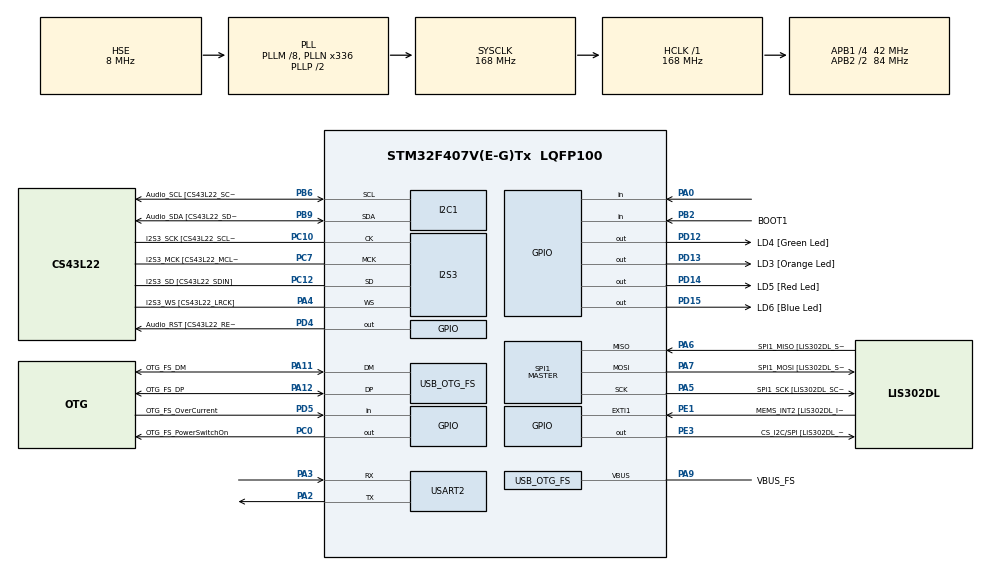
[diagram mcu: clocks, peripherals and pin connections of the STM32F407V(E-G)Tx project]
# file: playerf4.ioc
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FREERTOS.INCLUDE_vTaskDelayUntil=1
FREERTOS.Tasks01=defaultTask,0,1024,StartDefaultTask,Default,NULL,Dynamic,NULL,NULL
I2S3.AudioFreq-Half_Duplex_Master=I2S_AUDIOFREQ_96K
I2S3.ErrorAudioFreq=-2.34 %
I2S3.ErrorAudioFreq-Half_Duplex_Master=0.8 %
I2S3.FullDuplexMode=I2S_FULLDUPLEXMODE_DISABLE
I2S3.Instance=SPI$Index
I2S3.RealAudioFreq=93.75 KHz
I2S3.RealAudioFreq-Half_Duplex_Master=96.774 KHz
I2S3.VirtualMode=I2S_MODE_MASTER
Mcu.Family=STM32F4
Mcu.Name=STM32F407V(E-G)Tx
Mcu.Package=LQFP100
NVIC.OTG_FS_IRQn=true\:5\:0\:false\:false\:true\:true\:true
NVIC.PriorityGroup=NVIC_PRIORITYGROUP_4
NVIC.TIM7_IRQn=true\:0\:0\:false\:false\:true\:false\:false
NVIC.TimeBase=TIM7_IRQn
NVIC.TimeBaseIP=TIM7
PA0-WKUP.Signal=GPIO_Input
PA10.GPIO_Label=OTG_FS_ID
PA10.GPIO_Mode=GPIO_MODE_AF_PP
PA10.GPIO_PuPd=GPIO_NOPULL
PA10.GPIO_Speed=GPIO_SPEED_FREQ_LOW
PA10.Signal=USB_OTG_FS_ID
PA11.GPIO_Label=OTG_FS_DM
PA11.GPIO_Mode=GPIO_MODE_AF_PP
PA11.GPIO_PuPd=GPIO_NOPULL
PA11.GPIO_Speed=GPIO_SPEED_FREQ_LOW
PA11.Mode=Host_Only
PA11.Signal=USB_OTG_FS_DM
PA12.GPIO_Label=OTG_FS_DP
PA12.GPIO_Mode=GPIO_MODE_AF_PP
PA12.GPIO_PuPd=GPIO_NOPULL
PA12.GPIO_Speed=GPIO_SPEED_FREQ_LOW
PA12.Mode=Host_Only
PA12.Signal=USB_OTG_FS_DP
PA13.GPIO_Label=SWDIO
PA13.Mode=Serial_Wire
PA13.Signal=SYS_JTMS-SWDIO
PA14.GPIO_Label=SWCLK
PA14.Mode=Serial_Wire
PA14.Signal=SYS_JTCK-SWCLK
PA2.Mode=Asynchronous
PA2.Signal=USART2_TX
PA3.Mode=Asynchronous
PA3.Signal=USART2_RX
PA4.GPIO_Label=I2S3_WS [CS43L22_LRCK]
PA4.GPIO_Mode=GPIO_MODE_AF_PP
PA4.GPIO_PuPd=GPIO_NOPULL
PA4.GPIO_Speed=GPIO_SPEED_FREQ_LOW
PA4.Mode=Half_Duplex_Master
PA4.Signal=I2S3_WS
PA5.GPIO_Label=SPI1_SCK [LIS302DL_SCL/SPC]
PA5.GPIO_Mode=GPIO_MODE_AF_PP
PA5.GPIO_PuPd=GPIO_NOPULL
PA5.GPIO_Speed=GPIO_SPEED_FREQ_LOW
PA5.Mode=Full_Duplex_Master
PA5.Signal=SPI1_SCK
PA6.GPIO_Label=SPI1_MISO [LIS302DL_SDO]
PA6.GPIO_Mode=GPIO_MODE_AF_PP
PA6.GPIO_PuPd=GPIO_NOPULL
PA6.GPIO_Speed=GPIO_SPEED_FREQ_LOW
PA6.Mode=Full_Duplex_Master
PA6.Signal=SPI1_MISO
PA7.GPIO_Label=SPI1_MOSI [LIS302DL_SDA/SDI/SDO]
PA7.GPIO_Mode=GPIO_MODE_AF_PP
PA7.GPIO_PuPd=GPIO_NOPULL
PA7.GPIO_Speed=GPIO_SPEED_FREQ_LOW
PA7.Mode=Full_Duplex_Master
PA7.Signal=SPI1_MOSI
PA9.GPIO_Label=VBUS_FS
PA9.GPIO_Mode=GPIO_MODE_INPUT
PA9.GPIO_PuPd=GPIO_NOPULL
PA9.Mode=Activate_VBUS
PA9.Signal=USB_OTG_FS_VBUS
PB10.GPIO_Label=CLK_IN [MP45DT02_CLK]
PB10.GPIO_Mode=GPIO_MODE_AF_PP
PB10.GPIO_PuPd=GPIO_NOPULL
PB10.GPIO_Speed=GPIO_SPEED_FREQ_LOW
PB10.Signal=I2S2_CK
PB2.GPIO_Label=BOOT1
PB2.GPIO_Mode=GPIO_MODE_INPUT
PB2.GPIO_PuPd=GPIO_NOPULL
PB2.Signal=GPIO_Input
PB3.GPIO_Label=SWO
PB3.Signal=SYS_JTDO-SWO
PB6.GPIO_Label=Audio_SCL [CS43L22_SCL]
PB6.GPIO_Mode=GPIO_MODE_AF_OD
PB6.GPIO_PuPd=GPIO_NOPULL
PB6.GPIO_Speed=GPIO_SPEED_FREQ_LOW
PB6.Mode=I2C
PB6.Signal=I2C1_SCL
PB9.GPIO_Label=Audio_SDA [CS43L22_SDA]
PB9.GPIO_Mode=GPIO_MODE_AF_OD
PB9.GPIO_PuPd=GPIO_NOPULL
PB9.GPIO_Speed=GPIO_SPEED_FREQ_LOW
PB9.Mode=I2C
PB9.Signal=I2C1_SDA
PC0.GPIO_Label=OTG_FS_PowerSwitchOn
PC0.GPIO_PuPd=GPIO_NOPULL
PC0.GPIO_Speed=GPIO_SPEED_FREQ_LOW
PC0.PinState=GPIO_PIN_SET
PC0.Signal=GPIO_Output
PC10.GPIO_Label=I2S3_SCK [CS43L22_SCLK]
PC10.GPIO_Mode=GPIO_MODE_AF_PP
PC10.GPIO_PuPd=GPIO_NOPULL
PC10.GPIO_Speed=GPIO_SPEED_FREQ_LOW
PC10.Mode=Half_Duplex_Master
PC10.Signal=I2S3_CK
PC12.GPIO_Label=I2S3_SD [CS43L22_SDIN]
PC12.GPIO_Mode=GPIO_MODE_AF_PP
PC12.GPIO_PuPd=GPIO_NOPULL
PC12.GPIO_Speed=GPIO_SPEED_FREQ_LOW
PC12.Mode=Half_Duplex_Master
PC12.Signal=I2S3_SD
PC14-OSC32_IN.GPIO_Label=PC14-OSC32_IN
PC14-OSC32_IN.Mode=LSE-External-Oscillator
PC14-OSC32_IN.Signal=RCC_OSC32_IN
PC15-OSC32_OUT.GPIO_Label=PC15-OSC32_OUT
PC15-OSC32_OUT.Mode=LSE-External-Oscillator
PC15-OSC32_OUT.Signal=RCC_OSC32_OUT
PC3.GPIO_Label=PDM_OUT [MP45DT02_DOUT]
PC3.GPIO_Mode=GPIO_MODE_AF_PP
PC3.GPIO_PuPd=GPIO_NOPULL
PC3.GPIO_Speed=GPIO_SPEED_FREQ_LOW
PC3.Signal=I2S2_SD
PC7.GPIO_Label=I2S3_MCK [CS43L22_MCLK]
PC7.GPIO_Mode=GPIO_MODE_AF_PP
PC7.GPIO_PuPd=GPIO_NOPULL
PC7.GPIO_Speed=GPIO_SPEED_FREQ_LOW
PC7.Mode=Master_Clock_Activated
PC7.Signal=I2S3_MCK
PD12.GPIO_Label=LD4 [Green Led]
PD12.GPIO_PuPd=GPIO_NOPULL
PD12.GPIO_Speed=GPIO_SPEED_FREQ_LOW
PD12.Signal=GPIO_Output
PD13.GPIO_Label=LD3 [Orange Led]
PD13.GPIO_PuPd=GPIO_NOPULL
PD13.GPIO_Speed=GPIO_SPEED_FREQ_LOW
PD13.Signal=GPIO_Output
PD14.GPIO_Label=LD5 [Red Led]
PD14.GPIO_PuPd=GPIO_NOPULL
PD14.GPIO_Speed=GPIO_SPEED_FREQ_LOW
PD14.Signal=GPIO_Output
PD15.GPIO_Label=LD6 [Blue Led]
PD15.GPIO_PuPd=GPIO_NOPULL
PD15.GPIO_Speed=GPIO_SPEED_FREQ_LOW
PD15.Signal=GPIO_Output
PD4.GPIO_Label=Audio_RST [CS43L22_RESET]
PD4.GPIO_PuPd=GPIO_NOPULL
PD4.GPIO_Speed=GPIO_SPEED_FREQ_LOW
PD4.Signal=GPIO_Output
PD5.GPIO_Label=OTG_FS_OverCurrent
PD5.GPIO_Mode=GPIO_MODE_INPUT
PD5.GPIO_PuPd=GPIO_NOPULL
PD5.Signal=GPIO_Input
PE1.GPIO_Label=MEMS_INT2 [LIS302DL_INT2]
PE1.GPIO_ModeDefaultEXTI=GPIO_MODE_EVT_RISING
PE1.GPIO_PuPd=GPIO_NOPULL
PE1.Signal=GPXTI1
PE3.GPIO_Label=CS_I2C/SPI [LIS302DL_CS_I2C/SPI]
PE3.GPIO_PuPd=GPIO_NOPULL
PE3.GPIO_Speed=GPIO_SPEED_FREQ_LOW
PE3.Signal=GPIO_Output
PH0-OSC_IN.GPIO_Label=PH0-OSC_IN
PH0-OSC_IN.Mode=HSE-External-Oscillator
PH0-OSC_IN.Signal=RCC_OSC_IN
PH1-OSC_OUT.GPIO_Label=PH1-OSC_OUT
PH1-OSC_OUT.Mode=HSE-External-Oscillator
PH1-OSC_OUT.Signal=RCC_OSC_OUT
ProjectManager.HeapSize=0x200
ProjectManager.StackSize=0x400
ProjectManager.TargetToolchain=Makefile
RCC.48MHZClocksFreq_Value=48000000
RCC.AHBFreq_Value=168000000
RCC.APB1CLKDivider=RCC_HCLK_DIV4
RCC.APB1Freq_Value=42000000
RCC.APB1TimFreq_Value=84000000
RCC.APB2CLKDivider=RCC_HCLK_DIV2
RCC.APB2Freq_Value=84000000
RCC.APB2TimFreq_Value=168000000
RCC.CortexFreq_Value=168000000
RCC.HCLKFreq_Value=168000000
RCC.HSE_VALUE=8000000
RCC.HSI_VALUE=16000000
RCC.PLLM=8
RCC.PLLN=336
RCC.PLLQ=7
RCC.SYSCLKFreq_VALUE=168000000
RCC.SYSCLKSource=RCC_SYSCLKSOURCE_PLLCLK
RCC.VCOOutputFreq_Value=336000000
SPI1.BaudRatePrescaler-Full_Duplex_Master=SPI_BAUDRATEPRESCALER_2
SPI1.CalculateBaudRate-Full_Duplex_Master=42.0 MBits/s
SPI1.Direction=SPI_DIRECTION_2LINES
SPI1.Mode=SPI_MODE_MASTER
SPI1.Mode-Full_Duplex_Master=SPI_MODE_MASTER
SPI1.VirtualType=VM_MASTER
USART2.VirtualMode=VM_ASYNC
USB_HOST.BSP.number=1
USB_HOST.USBH_DEBUG_LEVEL-MSC_FS=3
USB_HOST.USBH_HandleTypeDef-MSC_FS=hUsbHostFS
USB_HOST.VirtualModeFS=Msc
USB_HOST0.BSP.STBoard=true
USB_HOST0.BSP.api=Unknown
USB_HOST0.BSP.i2caddr=0
USB_HOST0.BSP.instance=PC0
USB_HOST0.BSP.ip=GPIO
USB_HOST0.BSP.mode=Output
USB_HOST0.BSP.name=Drive_VBUS_FS
USB_HOST0.BSP.solution=PC0
USB_OTG_FS.VirtualMode=Host_Only
USB_OTG_FS.phy_itface=HCD_PHY_EMBEDDED
VP_FATFS_VS_USB.Mode=USB
VP_FREERTOS_VS_ENABLE.Mode=Enabled
VP_RNG_VS_RNG.Mode=RNG_Activate
VP_SYS_VS_tim7.Mode=TIM7
VP_TIM6_VS_ClockSourceINT.Mode=Enable_Timer
VP_USB_HOST_VS_USB_HOST_MSC_FS.Mode=MSC_FS
board=STM32F4DISCOVERY

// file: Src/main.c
/**
  ******************************************************************************
  * @file           : main.c
  * @brief          : Main program body
  ******************************************************************************
  * This notice applies to any and all portions of this file
  * that are not between comment pairs USER CODE BEGIN and
  * USER CODE END. Other portions of this file, whether
  * inserted by the user or by software development tools
  * are owned by their respective copyright owners.
  *
  * Copyright (c) 2018 STMicroelectronics International N.V.
  * All rights reserved.
  *
  * Redistribution and use in source and binary forms, with or without
  * modification, are permitted, provided that the following conditions are met:
  *
  * 1. Redistribution of source code must retain the above copyright notice,
  *    this list of conditions and the following disclaimer.
  * 2. Redistributions in binary form must reproduce the above copyright notice,
  *    this list of conditions and the following disclaimer in the documentation
  *    and/or other materials provided with the distribution.
  * 3. Neither the name of STMicroelectronics nor the names of other
  *    contributors to this software may be used to endorse or promote products
  *    derived from this software without specific written permission.
  * 4. This software, including modifications and/or derivative works of this
  *    software, must execute solely and exclusively on microcontroller or
  *    microprocessor devices manufactured by or for STMicroelectronics.
  * 5. Redistribution and use of this software other than as permitted under
  *    this license is void and will automatically terminate your rights under
  *    this license.
  *
  * THIS SOFTWARE IS PROVIDED BY STMICROELECTRONICS AND CONTRIBUTORS "AS IS"
  * AND ANY EXPRESS, IMPLIED OR STATUTORY WARRANTIES, INCLUDING, BUT NOT
  * LIMITED TO, THE IMPLIED WARRANTIES OF MERCHANTABILITY, FITNESS FOR A
  * PARTICULAR PURPOSE AND NON-INFRINGEMENT OF THIRD PARTY INTELLECTUAL PROPERTY
  * RIGHTS ARE DISCLAIMED TO THE FULLEST EXTENT PERMITTED BY LAW. IN NO EVENT
  * SHALL STMICROELECTRONICS OR CONTRIBUTORS BE LIABLE FOR ANY DIRECT, INDIRECT,
  * INCIDENTAL, SPECIAL, EXEMPLARY, OR CONSEQUENTIAL DAMAGES (INCLUDING, BUT NOT
  * LIMITED TO, PROCUREMENT OF SUBSTITUTE GOODS OR SERVICES; LOSS OF USE, DATA,
  * OR PROFITS; OR BUSINESS INTERRUPTION) HOWEVER CAUSED AND ON ANY THEORY OF
  * LIABILITY, WHETHER IN CONTRACT, STRICT LIABILITY, OR TORT (INCLUDING
  * NEGLIGENCE OR OTHERWISE) ARISING IN ANY WAY OUT OF THE USE OF THIS SOFTWARE,
  * EVEN IF ADVISED OF THE POSSIBILITY OF SUCH DAMAGE.
  *
  ******************************************************************************
  */
#include "main.h"
#include "stm32f4xx_hal.h"
#include "cmsis_os.h"
#include "fatfs.h"
#include "usb_host.h"

/* USER CODE BEGIN Includes */

#include "stm32f4_discovery_audio.h"
#include "ansi.h"
#include "term_io.h"
#include "dbgu.h"
#include "mp3dec.h"
#include "ctype.h"
#include "genres.h"

/* USER CODE END Includes */

I2C_HandleTypeDef hi2c1;

I2S_HandleTypeDef hi2s3;

RNG_HandleTypeDef hrng;

SPI_HandleTypeDef hspi1;

TIM_HandleTypeDef htim6;

UART_HandleTypeDef huart2;

osThreadId defaultTaskHandle;

/* USER CODE BEGIN PV */
/* Private variables ---------------------------------------------------------*/
/* USER CODE END PV */

void SystemClock_Config(void);

static void MX_GPIO_Init(void);

static void MX_I2C1_Init(void);

static void MX_I2S3_Init(void);

static void MX_SPI1_Init(void);

static void MX_RNG_Init(void);

static void MX_TIM6_Init(void);

static void MX_USART2_UART_Init(void);

void StartDefaultTask(void const *argument);

/* USER CODE BEGIN PFP */
/* Private function prototypes -----------------------------------------------*/

/* USER CODE END PFP */

int main(void) {

    /* MCU Configuration----------------------------------------------------------*/

    /* Reset of all peripherals, Initializes the Flash interface and the Systick. */
    HAL_Init();

    /* Configure the system clock */
    SystemClock_Config();

    /* Initialize all configured peripherals */
    MX_GPIO_Init();
    MX_I2C1_Init();
    MX_I2S3_Init();
    MX_SPI1_Init();
    MX_RNG_Init();
    MX_TIM6_Init();
    MX_USART2_UART_Init();
    /* USER CODE BEGIN 2 */
    debug_init(&huart2);
    xprintf("F4 player test!\n");
    xprintf("printf test!\n");
    /* USER CODE END 2 */

    /* Create the thread(s) */
    /* definition and creation of defaultTask */
    osThreadDef(defaultTask, StartDefaultTask, osPriorityNormal, 0, 1024);
    defaultTaskHandle = osThreadCreate(osThread(defaultTask), NULL);

    /* Start scheduler */
    osKernelStart();

    /* We should never get here as control is now taken by the scheduler */

    /* Infinite loop */
    while (1) {

    }

}

void SystemClock_Config(void) {

    RCC_OscInitTypeDef RCC_OscInitStruct;
    RCC_ClkInitTypeDef RCC_ClkInitStruct;
    RCC_PeriphCLKInitTypeDef PeriphClkInitStruct;

    /**Configure the main internal regulator output voltage
    */
    __HAL_RCC_PWR_CLK_ENABLE();

    __HAL_PWR_VOLTAGESCALING_CONFIG(PWR_REGULATOR_VOLTAGE_SCALE1);

    /**Initializes the CPU, AHB and APB busses clocks
    */
    RCC_OscInitStruct.OscillatorType = RCC_OSCILLATORTYPE_HSE;
    RCC_OscInitStruct.HSEState = RCC_HSE_ON;
    RCC_OscInitStruct.PLL.PLLState = RCC_PLL_ON;
    RCC_OscInitStruct.PLL.PLLSource = RCC_PLLSOURCE_HSE;
    RCC_OscInitStruct.PLL.PLLM = 8;
    RCC_OscInitStruct.PLL.PLLN = 336;
    RCC_OscInitStruct.PLL.PLLP = RCC_PLLP_DIV2;
    RCC_OscInitStruct.PLL.PLLQ = 7;
    if (HAL_RCC_OscConfig(&RCC_OscInitStruct) != HAL_OK) {
        _Error_Handler(__FILE__, __LINE__);
    }

    /**Initializes the CPU, AHB and APB busses clocks
    */
    RCC_ClkInitStruct.ClockType = RCC_CLOCKTYPE_HCLK | RCC_CLOCKTYPE_SYSCLK
                                  | RCC_CLOCKTYPE_PCLK1 | RCC_CLOCKTYPE_PCLK2;
    RCC_ClkInitStruct.SYSCLKSource = RCC_SYSCLKSOURCE_PLLCLK;
    RCC_ClkInitStruct.AHBCLKDivider = RCC_SYSCLK_DIV1;
    RCC_ClkInitStruct.APB1CLKDivider = RCC_HCLK_DIV4;
    RCC_ClkInitStruct.APB2CLKDivider = RCC_HCLK_DIV2;

    if (HAL_RCC_ClockConfig(&RCC_ClkInitStruct, FLASH_LATENCY_5) != HAL_OK) {
        _Error_Handler(__FILE__, __LINE__);
    }

    PeriphClkInitStruct.PeriphClockSelection = RCC_PERIPHCLK_I2S;
    PeriphClkInitStruct.PLLI2S.PLLI2SN = 192;
    PeriphClkInitStruct.PLLI2S.PLLI2SR = 2;
    if (HAL_RCCEx_PeriphCLKConfig(&PeriphClkInitStruct) != HAL_OK) {
        _Error_Handler(__FILE__, __LINE__);
    }

    /**Configure the Systick interrupt time
    */
    HAL_SYSTICK_Config(HAL_RCC_GetHCLKFreq() / 1000);

    /**Configure the Systick
    */
    HAL_SYSTICK_CLKSourceConfig(SYSTICK_CLKSOURCE_HCLK);

    /* SysTick_IRQn interrupt configuration */
    HAL_NVIC_SetPriority(SysTick_IRQn, 15, 0);
}

/* I2C1 init function */
static void MX_I2C1_Init(void) {

    hi2c1.Instance = I2C1;
    hi2c1.Init.ClockSpeed = 100000;
    hi2c1.Init.DutyCycle = I2C_DUTYCYCLE_2;
    hi2c1.Init.OwnAddress1 = 0;
    hi2c1.Init.AddressingMode = I2C_ADDRESSINGMODE_7BIT;
    hi2c1.Init.DualAddressMode = I2C_DUALADDRESS_DISABLE;
    hi2c1.Init.OwnAddress2 = 0;
    hi2c1.Init.GeneralCallMode = I2C_GENERALCALL_DISABLE;
    hi2c1.Init.NoStretchMode = I2C_NOSTRETCH_DISABLE;
    if (HAL_I2C_Init(&hi2c1) != HAL_OK) {
        _Error_Handler(__FILE__, __LINE__);
    }

}

/* I2S3 init function */
static void MX_I2S3_Init(void) {

    hi2s3.Instance = SPI3;
    hi2s3.Init.Mode = I2S_MODE_MASTER_TX;
    hi2s3.Init.Standard = I2S_STANDARD_PHILIPS;
    hi2s3.Init.DataFormat = I2S_DATAFORMAT_16B;
    hi2s3.Init.MCLKOutput = I2S_MCLKOUTPUT_ENABLE;
    hi2s3.Init.AudioFreq = I2S_AUDIOFREQ_96K;
    hi2s3.Init.CPOL = I2S_CPOL_LOW;
    hi2s3.Init.ClockSource = I2S_CLOCK_PLL;
    hi2s3.Init.FullDuplexMode = I2S_FULLDUPLEXMODE_DISABLE;
    if (HAL_I2S_Init(&hi2s3) != HAL_OK) {
        _Error_Handler(__FILE__, __LINE__);
    }

}

/* RNG init function */
static void MX_RNG_Init(void) {

    hrng.Instance = RNG;
    if (HAL_RNG_Init(&hrng) != HAL_OK) {
        _Error_Handler(__FILE__, __LINE__);
    }

}

/* SPI1 init function */
static void MX_SPI1_Init(void) {

    /* SPI1 parameter configuration*/
    hspi1.Instance = SPI1;
    hspi1.Init.Mode = SPI_MODE_MASTER;
    hspi1.Init.Direction = SPI_DIRECTION_2LINES;
    hspi1.Init.DataSize = SPI_DATASIZE_8BIT;
    hspi1.Init.CLKPolarity = SPI_POLARITY_LOW;
    hspi1.Init.CLKPhase = SPI_PHASE_1EDGE;
    hspi1.Init.NSS = SPI_NSS_SOFT;
    hspi1.Init.BaudRatePrescaler = SPI_BAUDRATEPRESCALER_2;
    hspi1.Init.FirstBit = SPI_FIRSTBIT_MSB;
    hspi1.Init.TIMode = SPI_TIMODE_DISABLE;
    hspi1.Init.CRCCalculation = SPI_CRCCALCULATION_DISABLE;
    hspi1.Init.CRCPolynomial = 10;
    if (HAL_SPI_Init(&hspi1) != HAL_OK) {
        _Error_Handler(__FILE__, __LINE__);
    }

}

/* TIM6 init function */
static void MX_TIM6_Init(void) {

    TIM_MasterConfigTypeDef sMasterConfig;

    htim6.Instance = TIM6;
    htim6.Init.Prescaler = 0;
    htim6.Init.CounterMode = TIM_COUNTERMODE_UP;
    htim6.Init.Period = 0;
    if (HAL_TIM_Base_Init(&htim6) != HAL_OK) {
        _Error_Handler(__FILE__, __LINE__);
    }

    sMasterConfig.MasterOutputTrigger = TIM_TRGO_RESET;
    sMasterConfig.MasterSlaveMode = TIM_MASTERSLAVEMODE_DISABLE;
    if (HAL_TIMEx_MasterConfigSynchronization(&htim6, &sMasterConfig) != HAL_OK) {
        _Error_Handler(__FILE__, __LINE__);
    }

}

/* USART2 init function */
static void MX_USART2_UART_Init(void) {

    huart2.Instance = USART2;
    huart2.Init.BaudRate = 115200;
    huart2.Init.WordLength = UART_WORDLENGTH_8B;
    huart2.Init.StopBits = UART_STOPBITS_1;
    huart2.Init.Parity = UART_PARITY_NONE;
    huart2.Init.Mode = UART_MODE_TX_RX;
    huart2.Init.HwFlowCtl = UART_HWCONTROL_NONE;
    huart2.Init.OverSampling = UART_OVERSAMPLING_16;
    if (HAL_UART_Init(&huart2) != HAL_OK) {
        _Error_Handler(__FILE__, __LINE__);
    }

}

/** Configure pins as
        * Analog
        * Input
        * Output
        * EVENT_OUT
        * EXTI
     PC3   ------> I2S2_SD
     PB10   ------> I2S2_CK
*/
static void MX_GPIO_Init(void) {

    GPIO_InitTypeDef GPIO_InitStruct;

    /* GPIO Ports Clock Enable */
    __HAL_RCC_GPIOE_CLK_ENABLE();
    __HAL_RCC_GPIOC_CLK_ENABLE();
    __HAL_RCC_GPIOH_CLK_ENABLE();
    __HAL_RCC_GPIOA_CLK_ENABLE();
    __HAL_RCC_GPIOB_CLK_ENABLE();
    __HAL_RCC_GPIOD_CLK_ENABLE();

    /*Configure GPIO pin Output Level */
    HAL_GPIO_WritePin(CS_I2C_SPI_GPIO_Port, CS_I2C_SPI_Pin, GPIO_PIN_RESET);

    /*Configure GPIO pin Output Level */
    HAL_GPIO_WritePin(OTG_FS_PowerSwitchOn_GPIO_Port, OTG_FS_PowerSwitchOn_Pin, GPIO_PIN_SET);

    /*Configure GPIO pin Output Level */
    HAL_GPIO_WritePin(GPIOD, LD4_Pin | LD3_Pin | LD5_Pin | LD6_Pin
                             | Audio_RST_Pin, GPIO_PIN_RESET);

    /*Configure GPIO pin : CS_I2C_SPI_Pin */
    GPIO_InitStruct.Pin = CS_I2C_SPI_Pin;
    GPIO_InitStruct.Mode = GPIO_MODE_OUTPUT_PP;
    GPIO_InitStruct.Pull = GPIO_NOPULL;
    GPIO_InitStruct.Speed = GPIO_SPEED_FREQ_LOW;
    HAL_GPIO_Init(CS_I2C_SPI_GPIO_Port, &GPIO_InitStruct);

    /*Configure GPIO pin : OTG_FS_PowerSwitchOn_Pin */
    GPIO_InitStruct.Pin = OTG_FS_PowerSwitchOn_Pin;
    GPIO_InitStruct.Mode = GPIO_MODE_OUTPUT_PP;
    GPIO_InitStruct.Pull = GPIO_NOPULL;
    GPIO_InitStruct.Speed = GPIO_SPEED_FREQ_LOW;
    HAL_GPIO_Init(OTG_FS_PowerSwitchOn_GPIO_Port, &GPIO_InitStruct);

    /*Configure GPIO pin : PDM_OUT_Pin */
    GPIO_InitStruct.Pin = PDM_OUT_Pin;
    GPIO_InitStruct.Mode = GPIO_MODE_AF_PP;
    GPIO_InitStruct.Pull = GPIO_NOPULL;
    GPIO_InitStruct.Speed = GPIO_SPEED_FREQ_LOW;
    GPIO_InitStruct.Alternate = GPIO_AF5_SPI2;
    HAL_GPIO_Init(PDM_OUT_GPIO_Port, &GPIO_InitStruct);

    /*Configure GPIO pin : PA0 */
    GPIO_InitStruct.Pin = GPIO_PIN_0;
    GPIO_InitStruct.Mode = GPIO_MODE_INPUT;
    GPIO_InitStruct.Pull = GPIO_NOPULL;
    HAL_GPIO_Init(GPIOA, &GPIO_InitStruct);

    /*Configure GPIO pin : BOOT1_Pin */
    GPIO_InitStruct.Pin = BOOT1_Pin;
    GPIO_InitStruct.Mode = GPIO_MODE_INPUT;
    GPIO_InitStruct.Pull = GPIO_NOPULL;
    HAL_GPIO_Init(BOOT1_GPIO_Port, &GPIO_InitStruct);

    /*Configure GPIO pin : CLK_IN_Pin */
    GPIO_InitStruct.Pin = CLK_IN_Pin;
    GPIO_InitStruct.Mode = GPIO_MODE_AF_PP;
    GPIO_InitStruct.Pull = GPIO_NOPULL;
    GPIO_InitStruct.Speed = GPIO_SPEED_FREQ_LOW;
    GPIO_InitStruct.Alternate = GPIO_AF5_SPI2;
    HAL_GPIO_Init(CLK_IN_GPIO_Port, &GPIO_InitStruct);

    /*Configure GPIO pins : LD4_Pin LD3_Pin LD5_Pin LD6_Pin
                             Audio_RST_Pin */
    GPIO_InitStruct.Pin = LD4_Pin | LD3_Pin | LD5_Pin | LD6_Pin
                          | Audio_RST_Pin;
    GPIO_InitStruct.Mode = GPIO_MODE_OUTPUT_PP;
    GPIO_InitStruct.Pull = GPIO_NOPULL;
    GPIO_InitStruct.Speed = GPIO_SPEED_FREQ_LOW;
    HAL_GPIO_Init(GPIOD, &GPIO_InitStruct);

    /*Configure GPIO pin : OTG_FS_OverCurrent_Pin */
    GPIO_InitStruct.Pin = OTG_FS_OverCurrent_Pin;
    GPIO_InitStruct.Mode = GPIO_MODE_INPUT;
    GPIO_InitStruct.Pull = GPIO_NOPULL;
    HAL_GPIO_Init(OTG_FS_OverCurrent_GPIO_Port, &GPIO_InitStruct);

    /*Configure GPIO pin : MEMS_INT2_Pin */
    GPIO_InitStruct.Pin = MEMS_INT2_Pin;
    GPIO_InitStruct.Mode = GPIO_MODE_EVT_RISING;
    GPIO_InitStruct.Pull = GPIO_NOPULL;
    HAL_GPIO_Init(MEMS_INT2_GPIO_Port, &GPIO_InitStruct);

}

/* USER CODE BEGIN 4 */

extern ApplicationTypeDef Appli_state;
extern USBH_HandleTypeDef hUsbHostHS;
#define AUDIO_OUT_BUFFER_SIZE 8192
#define MAX_SONG_NAME_SIZE 100
#define MAX_NUMBER_SONGS 50
#define FW_PATH "0:/"
enum {
    BUFFER_OFFSET_NONE = 0,
    BUFFER_OFFSET_HALF,
    BUFFER_OFFSET_FULL,
};
static uint8_t buf_offs = BUFFER_OFFSET_NONE;
static uint32_t fpos = 0;
typedef enum {
    FINISHED = 0,
    PLAYING,
    PAUSED,
    NEXT,
    PREVIOUS
} PLAYER_STATE;
static PLAYER_STATE player_state1 = FINISHED;
int volume = 70;
FIL file;
FRESULT res;
char play_buffer[AUDIO_OUT_BUFFER_SIZE];
unsigned char input_buffer[AUDIO_OUT_BUFFER_SIZE];
unsigned char *input_buffer_pointer;
short spare_buffer[
        AUDIO_OUT_BUFFER_SIZE / 2]; // short ma 16 bitów a char 8, wiec pamięciowo taka sama wielkość jak play_buffer
short *spare_buffer_pointer;
int spare_buffer_offset = 0;
int bytes_in_input_buffer = 0;
MP3FrameInfo mp3_frame_info;
HMP3Decoder decoder;
int title_offset = 0;
char songs[MAX_NUMBER_SONGS][MAX_SONG_NAME_SIZE];
int songs_number = 0;
typedef struct {
    char tag[3];
    char title[30];
    char artist[30];
    char album[30];
    char year[4];
    char comment[30];
    unsigned char genre;
} mp3Tag;

char *copyTagText(char *src, char*dst, int size) {
    int foundData = 0;
    dst[size] = 0;
    for(int i = 0; i < size; i++) {
        char ch = src[i];
        if(!foundData) { foundData = (ch!=0 && !isspace(ch)); }
        dst[i] = foundData ? ch : 0;
    }
    return src + size;
}

void loadId3v1Tag(char *pointer_to_buffer, mp3Tag *tag) {
    char *dst = tag -> title;
    pointer_to_buffer = copyTagText(pointer_to_buffer, dst, 30);
    dst = tag -> artist;
    pointer_to_buffer = copyTagText(pointer_to_buffer, dst, 30);
    dst = tag -> album;
    pointer_to_buffer = copyTagText(pointer_to_buffer, dst, 30);
    dst = tag -> year;
    pointer_to_buffer = copyTagText(pointer_to_buffer, dst, 4);
    dst = tag -> comment;
    pointer_to_buffer = copyTagText(pointer_to_buffer, dst, 30);
    tag -> genre = pointer_to_buffer[0];
    return;
}

int print_id3tag(char *filename) {
    FIL fp;
    FRESULT res;
    mp3Tag tag;
    char buff[sizeof(mp3Tag)];

    // open mp3 file
    res = f_open(&fp, filename, FA_READ);
    if (res != FR_OK) {
        xprintf("mp3 file open ERROR, res = %d\n", res);
        return EXIT_FAILURE;
    }

    // Seek to 128 bytes before the end of the file
    if (f_lseek(&fp, f_size(&fp) - sizeof(mp3Tag)) != FR_OK) {
        xprintf("fseek failed");
        return EXIT_FAILURE;
    }

    // Read the tag
    uint32_t bytes_read1 = 0;
    if (f_read(&fp, buff, sizeof(mp3Tag), (void *) &bytes_read1) != FR_OK) {
        xprintf("Failed reading tag\n");
        return EXIT_FAILURE;
    }

    // Make sure we've got what we expect.
    if (buff[0]!='T' || buff[1]!='A' || buff[2]!='G') {
        printf("Failed to find TAG\n");
    } else {
        xprintf("Read %ld bytes\n", bytes_read1);
        char *pointer_to_buffer = buff + 3;
        loadId3v1Tag(pointer_to_buffer, &tag);
        xprintf("Title: %s\n", tag.title);
        xprintf("Artist: %s\n", tag.artist);
        xprintf("Album: %s\n", tag.album);
        xprintf("Year: %s\n", tag.year);
        xprintf("Comment: %s\n", tag.comment);
        xprintf("Genre: %s\n", convert_genre_number(tag.genre));
        pointer_to_buffer = 0;
    }

    f_lseek(&fp, 0);
    f_close(&fp);
    return EXIT_SUCCESS;
}

void decode(int play_offset) {
    uint32_t bytes_read = 0;
    //zczytujemy dane z pliku do momentu zapełnienia input_buffera
    if (f_read(&file, input_buffer_pointer, AUDIO_OUT_BUFFER_SIZE - bytes_in_input_buffer, (void *) &bytes_read) !=
        FR_OK) {
        BSP_AUDIO_OUT_Stop(CODEC_PDWN_SW);
        xprintf("file reading error\n");
    }
    //aktualizujemy ilość bajtów w input_bufferze
    bytes_in_input_buffer += bytes_read;
    //przesuwamy wskaźnik na początek
    input_buffer_pointer = input_buffer;
    //dopóki offset jest mniejszy niż połowa długości
    while (spare_buffer_offset < AUDIO_OUT_BUFFER_SIZE / 4) {
        int offset = MP3FindSyncWord((unsigned char *) input_buffer_pointer, bytes_in_input_buffer);
        if (offset == -1) {
            xprintf("Offset is -1 :(");
        }
        //Przesuwamy wskaźnik -> szukamy początku ramki
        bytes_in_input_buffer -= (offset);
        input_buffer_pointer += (offset);
        //dekodujemy ramkę (dane w input_buffer) do spare_buffer
        int is_error = MP3Decode(decoder, (unsigned char **) &input_buffer_pointer, (int *) &bytes_in_input_buffer,
                                 spare_buffer_pointer, 0);
        if (is_error) {
            xprintf("Error while decoding %d.\n", is_error);
            break;
        }
        //aktualizujemy ilość przetworzonych bajtów
        MP3GetLastFrameInfo(decoder, &mp3_frame_info);
        spare_buffer_offset += mp3_frame_info.outputSamps;
        spare_buffer_pointer = spare_buffer + spare_buffer_offset;

    }
    //przesuwamy dane w input_buffer na początek
    memcpy(input_buffer, input_buffer_pointer, bytes_in_input_buffer);
    //aktualizujemy położenie input_pointera tak, aby wskazywał tam, gdzie możemy już umiescić dane
    input_buffer_pointer = input_buffer + bytes_in_input_buffer;

    //wrzucamy dane ze spare_buffera do którego zbieraliśmy dekodowane mp3 do play_buffera odpowiedzialnego za granie
    memcpy(play_buffer + play_offset, spare_buffer, AUDIO_OUT_BUFFER_SIZE / 2);
    //po wrzuceniu danych do celu aktualizujemy spare_buffer, wysłaliśmy do play_buffera audio_out_buffer_size / 4 danych z powodu różnicy formatów, to co zostało to wrzucamy na początek
    memcpy(spare_buffer, &spare_buffer[AUDIO_OUT_BUFFER_SIZE / 4],
           (spare_buffer_offset - AUDIO_OUT_BUFFER_SIZE / 4) * 2);
    spare_buffer_offset -= AUDIO_OUT_BUFFER_SIZE / 4;
    spare_buffer_pointer = spare_buffer + spare_buffer_offset;
    buf_offs = BUFFER_OFFSET_NONE;
}

void find_mp3_files() {
    FRESULT fr;     /* Return value */
    DIR dj;         /* Directory object */
    FILINFO fno;    /* File information */

    fr = f_findfirst(&dj, &fno, FW_PATH, "*.MP3"); /* Start to search for photo files */
    while (fr == FR_OK && fno.fname[0]) {         /* Repeat while an item is found */
        // omit filenames with . and _ at the beginning
        if (fno.fname[0] != '.' && fno.fname[0] != '_') {
            strcpy(songs[songs_number++], fno.fname); //copy mp3 filename into songs array
        }
        fr = f_findnext(&dj, &fno);               /* Search for next item */
    }
    f_closedir(&dj);
}

void end_song() {
    BSP_AUDIO_OUT_Stop(CODEC_PDWN_SW);
    f_close(&file);
    xprintf("End of song\n");
    player_state1 = FINISHED;
    spare_buffer_offset = 0;
    bytes_in_input_buffer = 0;
    buf_offs = BUFFER_OFFSET_NONE;
}

int volume_up() {
    if (player_state1 == PLAYING) {
        if (BSP_AUDIO_OUT_SetVolume(volume < 71 ? volume += 10 : volume) != AUDIO_OK) {
            xprintf("ERROR: Failed to set audio volume\n");
            return -1;
        }
        xprintf("w: volume up. Current volume: %d\n", volume);
    } else {
        xprintf("cannot resume in this state :( \n");
    }
    return 0;
}

int volume_down() {
    if (player_state1 == PLAYING) {
        if (BSP_AUDIO_OUT_SetVolume(volume > 9 ? volume -= 10 : volume) != AUDIO_OK) {
            xprintf("ERROR: Failed to set audio volume\n");
            return -1;
        }
        xprintf("s: volume down. Current volume: %d\n", volume);
    } else {
        xprintf("cannot resume in this state :( \n");
    }
    return 0;
}

void resume() {
    if (player_state1 == PAUSED) {
        xprintf("resuming...\n");
        player_state1 = PLAYING;
        BSP_AUDIO_OUT_SetVolume(volume);
        BSP_AUDIO_OUT_Resume();
    } else {
        xprintf("cannot resume in this state :( \n");
    }
}

void pause() {
    if (player_state1 == PLAYING) {
        xprintf("pausing...\n");
        player_state1 = PAUSED;
        BSP_AUDIO_OUT_SetVolume(0);
        BSP_AUDIO_OUT_Pause();
    } else {
        xprintf("cannot pause in this state :( \n");
    }
}

int shift_song(char in) {
    if (player_state1 == PLAYING) {
        end_song();
        if(in == 'n') {
            xprintf("playing next song...\n");
            player_state1 = NEXT;
            return EXIT_SUCCESS;
        } else {
            xprintf("playing previous song...\n");
            player_state1 = PREVIOUS;
            return EXIT_SUCCESS;
        }
    } else {
        xprintf("cannot resume in this state :( \n");
        return EXIT_FAILURE;
    }
}

void play_mp3(char *filename) {
    title_offset = 0;
    print_id3tag(filename);
    res = f_open(&file, filename, FA_READ);
    if (res == FR_OK) {
        xprintf("%s open OK. Playing song\n", filename);
    } else {
        xprintf("mp3 file open ERROR, res = %d\n", res);
        while (1);
    }
    spare_buffer_pointer = spare_buffer;
    input_buffer_pointer = input_buffer;
    BSP_AUDIO_OUT_Play((uint16_t * ) & play_buffer[0], AUDIO_OUT_BUFFER_SIZE);
    decode(0);
    decode(AUDIO_OUT_BUFFER_SIZE / 2);
    player_state1 = PLAYING;
    fpos = 0;
    buf_offs = BUFFER_OFFSET_NONE;

    for (;;) {
        char in = debug_inkey();
        if (in == 'w') {
            volume_up();
        } else if (in == 's') {
            volume_down();
        } else if (in == 'p') {
            pause();
        } else if (in == 'r') {
            resume();
        } else if (in == 'n' || in == 'q') {
            if(shift_song(in) == 0) return;
        }

        if (player_state1 == PLAYING) {
            if (buf_offs == BUFFER_OFFSET_HALF) {
                decode(0);
            }
            if (buf_offs == BUFFER_OFFSET_FULL) {
                decode(AUDIO_OUT_BUFFER_SIZE / 2);
            }
            if (bytes_in_input_buffer == 0) {
                end_song();
                return;
            }
        }
    }
}

void play_songs() {
    int i = 0;
    for (;;) {
        i = i < 0 ? songs_number - 1 : i % songs_number;
        play_mp3(songs[i]);
        if(player_state1 == NEXT || player_state1 == FINISHED) i++;
        if(player_state1 == PREVIOUS) i--;
        xprintf("state: %d; i: %d", player_state1, i);
    }
}

/**
  * @brief  Manages the DMA Half Transfer complete interrupt.
  * @param  None
  * @retval None
  */
void BSP_AUDIO_OUT_HalfTransfer_CallBack(void) {
    buf_offs = BUFFER_OFFSET_HALF;
}

/**
* @brief  Calculates the remaining file size and new position of the pointer.
* @param  None
* @retval None
*/
void BSP_AUDIO_OUT_TransferComplete_CallBack(void) {
    buf_offs = BUFFER_OFFSET_FULL;
    BSP_AUDIO_OUT_ChangeBuffer((uint16_t * ) & play_buffer[0], AUDIO_OUT_BUFFER_SIZE / 2);
}

/* USER CODE END 4 */

/* USER CODE BEGIN Header_StartDefaultTask */
void StartDefaultTask(void const *argument) {
    /* init code for USB_HOST */
    MX_USB_HOST_Init();

    /* init code for FATFS */
    MX_FATFS_Init();

    /* USER CODE BEGIN 5 */

    HAL_GPIO_WritePin(OTG_FS_PowerSwitchOn_GPIO_Port, OTG_FS_PowerSwitchOn_Pin, GPIO_PIN_RESET);

    vTaskDelay(1000);

    xprintf("waiting for USB mass storage\n");

    do {
        xprintf(".");
        vTaskDelay(250);
    } while (Appli_state != APPLICATION_READY);

    decoder = MP3InitDecoder();

    if (BSP_AUDIO_OUT_Init(OUTPUT_DEVICE_AUTO, volume, 44100) == 0) {
        xprintf("audio init OK\n");
    } else {
        xprintf("audio init ERROR\n");
    }

    /* Infinite loop */
    for (;;) {
        find_mp3_files();
        play_songs();
        vTaskDelay(1);
    }
    /* USER CODE END 5 */
}

void HAL_TIM_PeriodElapsedCallback(TIM_HandleTypeDef *htim) {
    if (htim->Instance == TIM7) {
        HAL_IncTick();
    }
}

void _Error_Handler(char *file, int line) {
    while (1) {
    }
}

/************************ (C) COPYRIGHT STMicroelectronics *****END OF FILE****/
